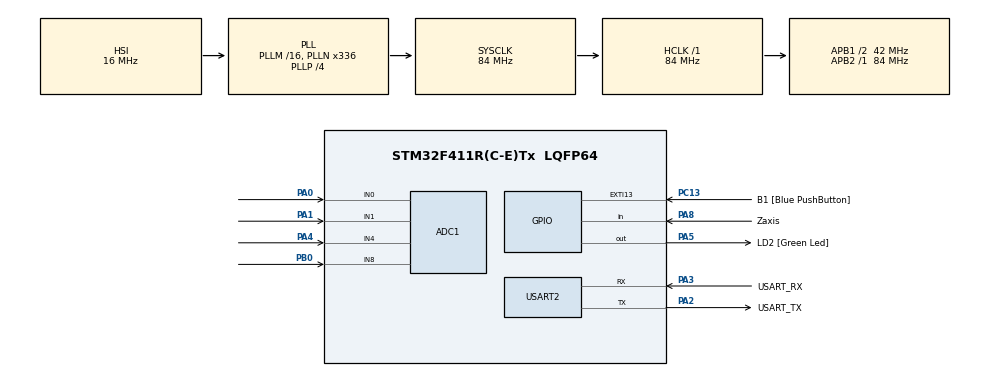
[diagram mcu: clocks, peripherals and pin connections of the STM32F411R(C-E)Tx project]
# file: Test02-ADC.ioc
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ADC1.Channel-0\#ChannelRegularConversion=ADC_CHANNEL_4
ADC1.Channel-1\#ChannelRegularConversion=ADC_CHANNEL_8
ADC1.DMAContinuousRequests=ENABLE
ADC1.DiscontinuousConvMode=ENABLE
ADC1.EOCSelection=ADC_EOC_SEQ_CONV
ADC1.ExternalTrigConv=ADC_EXTERNALTRIGCONV_T3_TRGO
ADC1.ExternalTrigConvEdge=ADC_EXTERNALTRIGCONVEDGE_FALLING
ADC1.NbrOfConversion=2
ADC1.NbrOfConversionFlag=1
ADC1.Rank-0\#ChannelRegularConversion=1
ADC1.Rank-1\#ChannelRegularConversion=2
ADC1.SamplingTime-0\#ChannelRegularConversion=ADC_SAMPLETIME_3CYCLES
ADC1.SamplingTime-1\#ChannelRegularConversion=ADC_SAMPLETIME_3CYCLES
ADC1.ScanConvMode=ENABLE
ADC1.master=1
Dma.ADC1.0.Direction=DMA_PERIPH_TO_MEMORY
Dma.ADC1.0.FIFOMode=DMA_FIFOMODE_DISABLE
Dma.ADC1.0.Instance=DMA2_Stream0
Dma.ADC1.0.MemDataAlignment=DMA_MDATAALIGN_HALFWORD
Dma.ADC1.0.MemInc=DMA_MINC_ENABLE
Dma.ADC1.0.Mode=DMA_CIRCULAR
Dma.ADC1.0.PeriphDataAlignment=DMA_PDATAALIGN_HALFWORD
Dma.ADC1.0.PeriphInc=DMA_PINC_DISABLE
Dma.ADC1.0.Priority=DMA_PRIORITY_LOW
Dma.Request0=ADC1
Mcu.Family=STM32F4
Mcu.Name=STM32F411R(C-E)Tx
Mcu.Package=LQFP64
NVIC.DMA2_Stream0_IRQn=true\:0\:0\:false\:false\:true\:false\:true\:true
NVIC.PriorityGroup=NVIC_PRIORITYGROUP_0
PA0-WKUP.Signal=ADCx_IN0
PA1.Signal=ADCx_IN1
PA13.GPIO_Label=TMS
PA13.Mode=Serial_Wire
PA13.Signal=SYS_JTMS-SWDIO
PA14.GPIO_Label=TCK
PA14.Mode=Serial_Wire
PA14.Signal=SYS_JTCK-SWCLK
PA2.GPIO_Label=USART_TX
PA2.Mode=Asynchronous
PA2.Signal=USART2_TX
PA3.GPIO_Label=USART_RX
PA3.Mode=Asynchronous
PA3.Signal=USART2_RX
PA4.Signal=ADCx_IN4
PA5.GPIO_Label=LD2 [Green Led]
PA5.Signal=GPIO_Output
PA8.GPIO_Label=Zaxis
PA8.GPIO_PuPd=GPIO_PULLUP
PA8.Signal=GPIO_Input
PB0.Signal=ADCx_IN8
PB3.GPIO_Label=SWO
PB3.Signal=SYS_JTDO-SWO
PC13-ANTI_TAMP.GPIO_Label=B1 [Blue PushButton]
PC13-ANTI_TAMP.GPIO_ModeDefaultEXTI=GPIO_MODE_IT_FALLING
PC13-ANTI_TAMP.Signal=GPXTI13
PC14-OSC32_IN.Mode=LSE-External-Oscillator
PC14-OSC32_IN.Signal=RCC_OSC32_IN
PC15-OSC32_OUT.Mode=LSE-External-Oscillator
PC15-OSC32_OUT.Signal=RCC_OSC32_OUT
PH0\ -\ OSC_IN.Mode=HSE-External-Clock-Source
PH0\ -\ OSC_IN.Signal=RCC_OSC_IN
PH1\ -\ OSC_OUT.Mode=HSE-External-Clock-Source
PH1\ -\ OSC_OUT.Signal=RCC_OSC_OUT
ProjectManager.HeapSize=0x200
ProjectManager.StackSize=0x400
ProjectManager.TargetToolchain=STM32CubeIDE
RCC.48MHZClocksFreq_Value=84000000
RCC.AHBFreq_Value=84000000
RCC.APB1CLKDivider=RCC_HCLK_DIV2
RCC.APB1Freq_Value=42000000
RCC.APB1TimFreq_Value=84000000
RCC.APB2Freq_Value=84000000
RCC.APB2TimFreq_Value=84000000
RCC.CortexFreq_Value=84000000
RCC.FLatency-AdvancedSettings=FLASH_LATENCY_2
RCC.HCLKFreq_Value=84000000
RCC.HSE_VALUE=8000000
RCC.HSI_VALUE=16000000
RCC.PLLN=336
RCC.PLLP=RCC_PLLP_DIV4
RCC.SYSCLKFreq_VALUE=84000000
RCC.SYSCLKSource=RCC_SYSCLKSOURCE_PLLCLK
RCC.VCOOutputFreq_Value=336000000
SH.ADCx_IN0.0=ADC1_IN0,IN0
SH.ADCx_IN1.0=ADC1_IN1,IN1
SH.ADCx_IN4.0=ADC1_IN4,IN4
SH.ADCx_IN8.0=ADC1_IN8,IN8
TIM3.Period=5000-1
TIM3.Prescaler=8400-1
TIM3.TIM_MasterOutputTrigger=TIM_TRGO_UPDATE
USART2.VirtualMode=VM_ASYNC
VP_TIM3_VS_ClockSourceINT.Mode=Internal
board=NUCLEO-F411RE

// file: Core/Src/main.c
/* USER CODE BEGIN Header */
/**
  ******************************************************************************
  * @file           : main.c
  * @brief          : Main program body
  ******************************************************************************
  * @attention
  *
  * Copyright (c) 2023 STMicroelectronics.
  * All rights reserved.
  *
  * This software is licensed under terms that can be found in the LICENSE file
  * in the root directory of this software component.
  * If no LICENSE file comes with this software, it is provided AS-IS.
  *
  ******************************************************************************
  */
/* USER CODE END Header */
#include "main.h"

ADC_HandleTypeDef hadc1;
DMA_HandleTypeDef hdma_adc1;

TIM_HandleTypeDef htim3;

UART_HandleTypeDef huart2;

/* USER CODE BEGIN PV */
#include "../../../myLib/myLib.c"
/* USER CODE END PV */

void SystemClock_Config(void);
static void MX_GPIO_Init(void);
static void MX_DMA_Init(void);
static void MX_USART2_UART_Init(void);
static void MX_ADC1_Init(void);
static void MX_TIM3_Init(void);

/* USER CODE BEGIN 0 */
void noOperation() {}
void myDelay(int ms)
{
	for (int j = 0;j<ms;j++)
		for(int i = 0;i<500;i++)
				noOperation();
}
int get_AdcValue()
{
	HAL_ADC_Start(&hadc1); //sampling start
	HAL_ADC_PollForConversion(&hadc1, 100); //waiting for conversion end
	int val = HAL_ADC_GetValue(&hadc1); //get
	return val;

}
short dValue[2] = {}; //short: 2byte(16 bit)
int xValue = -1;
int yValue = -1;
int n = 0;
void HAL_ADC_ConvCpltCallback(ADC_HandleTypeDef* hadc) //1 time
{
	int Value = HAL_ADC_GetValue(&hadc1);  //Get

	if(n == 0) { xValue = Value; n++; }
	else
	{
		yValue = Value; n = 0;
		printf("(intr)X Value: %d\r\n", xValue);
		printf("(intr)Y Value: %d\r\n", yValue);
		printf("Z Value: %d\r\n\n", HAL_GPIO_ReadPin(Zaxis_GPIO_Port, Zaxis_Pin));
	}
	//for (int i = 0; i<1000000;i++) noOperation();
	myDelay(2000);
	HAL_ADC_Start_IT(&hadc1);
}
/* USER CODE END 0 */

int main(void)
{

  /* MCU Configuration--------------------------------------------------------*/

  /* Reset of all peripherals, Initializes the Flash interface and the Systick. */
  HAL_Init();

  /* Configure the system clock */
  SystemClock_Config();

  /* Initialize all configured peripherals */
  MX_GPIO_Init();
  MX_DMA_Init();
  MX_USART2_UART_Init();
  MX_ADC1_Init();
  MX_TIM3_Init();
  /* USER CODE BEGIN 2 */
 // HAL_TIM_Base_Start(&htim2);
  printf("\033[1J\033[1;1HProgram Restart...\r\n");
  //HAL_TIM_Base_Start(&htim3);

//  htim2.Instance->CNT = 0;
//  for(int i = 0;i<50;i++) noOperation();
//  int tt = htim2.Instance->CNT;
//
//  printf("noOperation function calling time: %d\r\n", tt); //1112

  HAL_ADC_Start_IT(&hadc1);
  printf("ADC interrupt Restart...\r\n");
//  HAL_ADC_Start_DMA(&hadc1, (int *)dValue, 2);
//  printf("ADC DMA Restart...\r\n");
  /* USER CODE END 2 */

  /* Infinite loop */
  while (1)
  {

    /* USER CODE BEGIN 3 */
	  //printf("X Value: %d\r\n", xValue);
	 // printf("Y Value: %d\r\n", yValue);
//	  printf("X Value: %d\r\n", dValue[0]);
//	  printf("Y Value: %d\r\n", dValue[1]);
//	  printf("Z Value: %d\r\n\n", HAL_GPIO_ReadPin(Zaxis_GPIO_Port, Zaxis_Pin));
//	  HAL_Delay(500);
  }
  /* USER CODE END 3 */
}

void SystemClock_Config(void)
{
  RCC_OscInitTypeDef RCC_OscInitStruct = {0};
  RCC_ClkInitTypeDef RCC_ClkInitStruct = {0};

  /** Configure the main internal regulator output voltage
  */
  __HAL_RCC_PWR_CLK_ENABLE();
  __HAL_PWR_VOLTAGESCALING_CONFIG(PWR_REGULATOR_VOLTAGE_SCALE1);

  /** Initializes the RCC Oscillators according to the specified parameters
  * in the RCC_OscInitTypeDef structure.
  */
  RCC_OscInitStruct.OscillatorType = RCC_OSCILLATORTYPE_HSI;
  RCC_OscInitStruct.HSIState = RCC_HSI_ON;
  RCC_OscInitStruct.HSICalibrationValue = RCC_HSICALIBRATION_DEFAULT;
  RCC_OscInitStruct.PLL.PLLState = RCC_PLL_ON;
  RCC_OscInitStruct.PLL.PLLSource = RCC_PLLSOURCE_HSI;
  RCC_OscInitStruct.PLL.PLLM = 16;
  RCC_OscInitStruct.PLL.PLLN = 336;
  RCC_OscInitStruct.PLL.PLLP = RCC_PLLP_DIV4;
  RCC_OscInitStruct.PLL.PLLQ = 4;
  if (HAL_RCC_OscConfig(&RCC_OscInitStruct) != HAL_OK)
  {
    Error_Handler();
  }

  /** Initializes the CPU, AHB and APB buses clocks
  */
  RCC_ClkInitStruct.ClockType = RCC_CLOCKTYPE_HCLK|RCC_CLOCKTYPE_SYSCLK
                              |RCC_CLOCKTYPE_PCLK1|RCC_CLOCKTYPE_PCLK2;
  RCC_ClkInitStruct.SYSCLKSource = RCC_SYSCLKSOURCE_PLLCLK;
  RCC_ClkInitStruct.AHBCLKDivider = RCC_SYSCLK_DIV1;
  RCC_ClkInitStruct.APB1CLKDivider = RCC_HCLK_DIV2;
  RCC_ClkInitStruct.APB2CLKDivider = RCC_HCLK_DIV1;

  if (HAL_RCC_ClockConfig(&RCC_ClkInitStruct, FLASH_LATENCY_2) != HAL_OK)
  {
    Error_Handler();
  }
}

static void MX_ADC1_Init(void)
{

  ADC_ChannelConfTypeDef sConfig = {0};

  /** Configure the global features of the ADC (Clock, Resolution, Data Alignment and number of conversion)
  */
  hadc1.Instance = ADC1;
  hadc1.Init.ClockPrescaler = ADC_CLOCK_SYNC_PCLK_DIV4;
  hadc1.Init.Resolution = ADC_RESOLUTION_12B;
  hadc1.Init.ScanConvMode = ENABLE;
  hadc1.Init.ContinuousConvMode = DISABLE;
  hadc1.Init.DiscontinuousConvMode = ENABLE;
  hadc1.Init.NbrOfDiscConversion = 1;
  hadc1.Init.ExternalTrigConvEdge = ADC_EXTERNALTRIGCONVEDGE_FALLING;
  hadc1.Init.ExternalTrigConv = ADC_EXTERNALTRIGCONV_T3_TRGO;
  hadc1.Init.DataAlign = ADC_DATAALIGN_RIGHT;
  hadc1.Init.NbrOfConversion = 2;
  hadc1.Init.DMAContinuousRequests = ENABLE;
  hadc1.Init.EOCSelection = ADC_EOC_SEQ_CONV;
  if (HAL_ADC_Init(&hadc1) != HAL_OK)
  {
    Error_Handler();
  }

  /** Configure for the selected ADC regular channel its corresponding rank in the sequencer and its sample time.
  */
  sConfig.Channel = ADC_CHANNEL_4;
  sConfig.Rank = 1;
  sConfig.SamplingTime = ADC_SAMPLETIME_3CYCLES;
  if (HAL_ADC_ConfigChannel(&hadc1, &sConfig) != HAL_OK)
  {
    Error_Handler();
  }

  /** Configure for the selected ADC regular channel its corresponding rank in the sequencer and its sample time.
  */
  sConfig.Channel = ADC_CHANNEL_8;
  sConfig.Rank = 2;
  if (HAL_ADC_ConfigChannel(&hadc1, &sConfig) != HAL_OK)
  {
    Error_Handler();
  }

}

static void MX_TIM3_Init(void)
{

  TIM_ClockConfigTypeDef sClockSourceConfig = {0};
  TIM_MasterConfigTypeDef sMasterConfig = {0};

  htim3.Instance = TIM3;
  htim3.Init.Prescaler = 8400-1;
  htim3.Init.CounterMode = TIM_COUNTERMODE_UP;
  htim3.Init.Period = 5000-1;
  htim3.Init.ClockDivision = TIM_CLOCKDIVISION_DIV1;
  htim3.Init.AutoReloadPreload = TIM_AUTORELOAD_PRELOAD_DISABLE;
  if (HAL_TIM_Base_Init(&htim3) != HAL_OK)
  {
    Error_Handler();
  }
  sClockSourceConfig.ClockSource = TIM_CLOCKSOURCE_INTERNAL;
  if (HAL_TIM_ConfigClockSource(&htim3, &sClockSourceConfig) != HAL_OK)
  {
    Error_Handler();
  }
  sMasterConfig.MasterOutputTrigger = TIM_TRGO_UPDATE;
  sMasterConfig.MasterSlaveMode = TIM_MASTERSLAVEMODE_DISABLE;
  if (HAL_TIMEx_MasterConfigSynchronization(&htim3, &sMasterConfig) != HAL_OK)
  {
    Error_Handler();
  }

}

static void MX_USART2_UART_Init(void)
{

  huart2.Instance = USART2;
  huart2.Init.BaudRate = 115200;
  huart2.Init.WordLength = UART_WORDLENGTH_8B;
  huart2.Init.StopBits = UART_STOPBITS_1;
  huart2.Init.Parity = UART_PARITY_NONE;
  huart2.Init.Mode = UART_MODE_TX_RX;
  huart2.Init.HwFlowCtl = UART_HWCONTROL_NONE;
  huart2.Init.OverSampling = UART_OVERSAMPLING_16;
  if (HAL_UART_Init(&huart2) != HAL_OK)
  {
    Error_Handler();
  }

}

static void MX_DMA_Init(void)
{

  /* DMA controller clock enable */
  __HAL_RCC_DMA2_CLK_ENABLE();

  /* DMA interrupt init */
  /* DMA2_Stream0_IRQn interrupt configuration */
  HAL_NVIC_SetPriority(DMA2_Stream0_IRQn, 0, 0);
  HAL_NVIC_EnableIRQ(DMA2_Stream0_IRQn);

}

static void MX_GPIO_Init(void)
{
  GPIO_InitTypeDef GPIO_InitStruct = {0};

  /* GPIO Ports Clock Enable */
  __HAL_RCC_GPIOC_CLK_ENABLE();
  __HAL_RCC_GPIOH_CLK_ENABLE();
  __HAL_RCC_GPIOA_CLK_ENABLE();
  __HAL_RCC_GPIOB_CLK_ENABLE();

  /*Configure GPIO pin Output Level */
  HAL_GPIO_WritePin(LD2_GPIO_Port, LD2_Pin, GPIO_PIN_RESET);

  /*Configure GPIO pin : B1_Pin */
  GPIO_InitStruct.Pin = B1_Pin;
  GPIO_InitStruct.Mode = GPIO_MODE_IT_FALLING;
  GPIO_InitStruct.Pull = GPIO_NOPULL;
  HAL_GPIO_Init(B1_GPIO_Port, &GPIO_InitStruct);

  /*Configure GPIO pin : LD2_Pin */
  GPIO_InitStruct.Pin = LD2_Pin;
  GPIO_InitStruct.Mode = GPIO_MODE_OUTPUT_PP;
  GPIO_InitStruct.Pull = GPIO_NOPULL;
  GPIO_InitStruct.Speed = GPIO_SPEED_FREQ_LOW;
  HAL_GPIO_Init(LD2_GPIO_Port, &GPIO_InitStruct);

  /*Configure GPIO pin : Zaxis_Pin */
  GPIO_InitStruct.Pin = Zaxis_Pin;
  GPIO_InitStruct.Mode = GPIO_MODE_INPUT;
  GPIO_InitStruct.Pull = GPIO_PULLUP;
  HAL_GPIO_Init(Zaxis_GPIO_Port, &GPIO_InitStruct);

}

void Error_Handler(void)
{
  __disable_irq();
  while (1)
  {
  }
}
